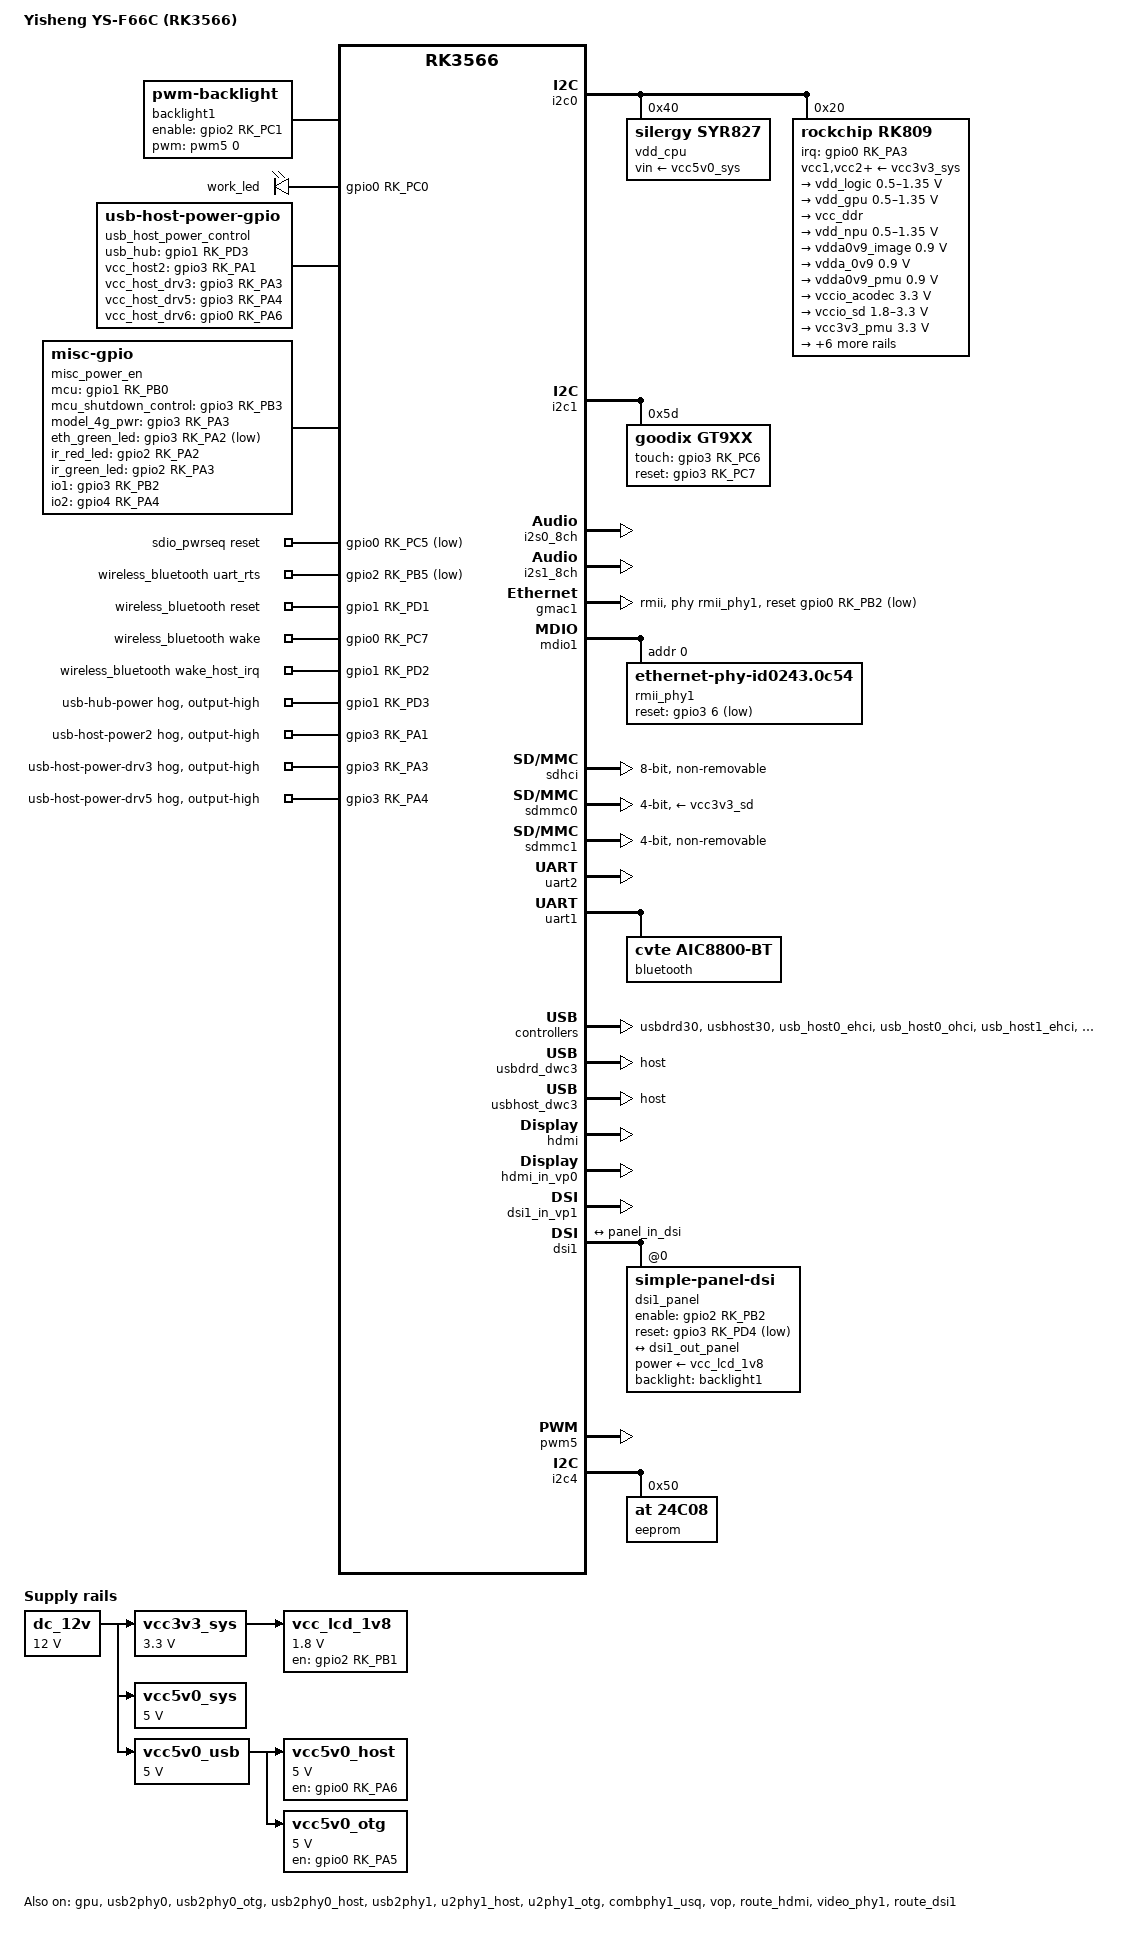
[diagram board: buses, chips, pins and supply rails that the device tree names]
// SPDX-License-Identifier: (GPL-2.0+ OR MIT)
/*
 * Yisheng YS-F66C (Rockchip RK3566)
 * 4+32G, 10.1" 1280x800 MIPI DSI, Goodix GT9xx touch, IP101GR PHY, RK809
 * Adapted for Rockchip vendor kernel 6.1 (rk-6.1-rkr7.2)
 */

/dts-v1/;

#include "rk3566.dtsi"
#include <dt-bindings/gpio/gpio.h>
#include <dt-bindings/pinctrl/rockchip.h>
#include <dt-bindings/interrupt-controller/irq.h>
#include <dt-bindings/leds/common.h>
#include <dt-bindings/soc/rockchip,vop2.h>
#include <dt-bindings/display/drm_mipi_dsi.h>
#include <dt-bindings/phy/phy.h>
#include <dt-bindings/clock/rk3568-cru.h>
#include <dt-bindings/power/rk3568-power.h>

/ {
	model = "Yisheng YS-F66C (RK3566)";
	compatible = "rockchip,rk3566-ys-f66c", "rockchip,rk3566";

	aliases {
		ethernet0 = &gmac1;
		mmc0 = &sdhci;
		mmc1 = &sdmmc0;
		mmc2 = &sdmmc1;
	};

	chosen: chosen {
		stdout-path = "serial2:1500000n8";
	};

	dc_12v: dc-12v {
		compatible = "regulator-fixed";
		regulator-name = "dc_12v";
		regulator-always-on;
		regulator-boot-on;
		regulator-min-microvolt = <12000000>;
		regulator-max-microvolt = <12000000>;
	};

	vcc3v3_sys: vcc3v3-sys {
		compatible = "regulator-fixed";
		regulator-name = "vcc3v3_sys";
		regulator-always-on;
		regulator-boot-on;
		regulator-min-microvolt = <3300000>;
		regulator-max-microvolt = <3300000>;
		vin-supply = <&dc_12v>;
	};

	vcc5v0_sys: vcc5v0-sys {
		compatible = "regulator-fixed";
		regulator-name = "vcc5v0_sys";
		regulator-always-on;
		regulator-boot-on;
		regulator-min-microvolt = <5000000>;
		regulator-max-microvolt = <5000000>;
		vin-supply = <&dc_12v>;
	};

	vcc5v0_usb: vcc5v0-usb {
		compatible = "regulator-fixed";
		regulator-name = "vcc5v0_usb";
		regulator-always-on;
		regulator-boot-on;
		regulator-min-microvolt = <5000000>;
		regulator-max-microvolt = <5000000>;
		vin-supply = <&dc_12v>;
	};

	vcc5v0_host: vcc5v0-host-regulator {
		compatible = "regulator-fixed";
		regulator-name = "vcc5v0_host";
		regulator-boot-on;
		regulator-always-on;
		regulator-min-microvolt = <5000000>;
		regulator-max-microvolt = <5000000>;
		enable-active-high;
		gpio = <&gpio0 RK_PA6 GPIO_ACTIVE_HIGH>;
		vin-supply = <&vcc5v0_usb>;
		pinctrl-names = "default";
		pinctrl-0 = <&vcc5v0_host_en>;
	};

	vcc5v0_otg: vcc5v0-otg-regulator {
		compatible = "regulator-fixed";
		regulator-name = "vcc5v0_otg";
		regulator-min-microvolt = <5000000>;
		regulator-max-microvolt = <5000000>;
		enable-active-high;
		gpio = <&gpio0 RK_PA5 GPIO_ACTIVE_HIGH>;
		vin-supply = <&vcc5v0_usb>;
		pinctrl-names = "default";
		pinctrl-0 = <&vcc5v0_otg_en>;
	};

	/* Питание панели: 1.8V I/O-рейл (вендорский enable18, GPIO2_B1).
	 * Вендор поднимает 1.8V ПЕРЕД 3.3V. panel_simple включает
	 * power-supply первым, затем enable-gpios (3.3V). */
	vcc_lcd_1v8: vcc-lcd-1v8 {
		compatible = "regulator-fixed";
		regulator-name = "vcc_lcd_1v8";
		regulator-min-microvolt = <1800000>;
		regulator-max-microvolt = <1800000>;
		enable-active-high;
		gpio = <&gpio2 RK_PB1 GPIO_ACTIVE_HIGH>;
		pinctrl-names = "default";
		pinctrl-0 = <&lcd_1v8_en>;
		vin-supply = <&vcc3v3_sys>;
	};
	backlight1: backlight1 {
		compatible = "pwm-backlight";
		pwms = <&pwm5 0 25000 0>;
		brightness-levels = <0 20 21 22 23 24 25 26 27 28 29 30 31 32 33 34 35 36 37 38 39 40 41 42 43 44 45 46 47 48 49 50 51 52 53 54 55 56 57 58 59 60 61 62 63 64 65 66 67 68 69 70 71 72 73 74 75 76 77 78 79 80 81 82 83 84 85 86 87 88 89 90 91 92 93 94 95 96 97 98 99 100 101 102 103 104 105 106 107 108 109 110 111 112 113 114 115 116 117 118 119 120 121 122 123 124 125 126 127 128 129 130 131 132 133 134 135 136 137 138 139 140 141 142 143 144 145 146 147 148 149 150 151 152 153 154 155 156 157 158 159 160 161 162 163 164 165 166 167 168 169 170 171 172 173 174 175 176 177 178 179 180 181 182 183 184 185 186 187 188 189 190 191 192 193 194 195 196 197 198 199 200 201 202 203 204 205 206 207 208 209 210 211 212 213 214 215 216 217 218 219 220 221 222 223 224 225 226 227 228 229 230 231 232 233 234 235 236 237 238 239 240 241 242 243 244 245 246 247 248 249 250 251 252 253 254 255>;
		default-brightness-level = <200>;
		pinctrl-names = "default";
		pinctrl-0 = <&bl_en1>;
		enable-gpios = <&gpio2 RK_PC1 GPIO_ACTIVE_HIGH>;
	};

	leds: leds {
		compatible = "gpio-leds";

		work_led: work {
			gpios = <&gpio0 RK_PC0 GPIO_ACTIVE_HIGH>;
			linux,default-trigger = "heartbeat";
		};
	};

	usb_host_power_control {
		compatible = "usb-host-power-gpio";
		pinctrl-names = "default";
		pinctrl-0 = <&default_usb_gpio_host_level>;
		usb_hub_gpio = <&gpio1 RK_PD3 GPIO_ACTIVE_HIGH>;
		vcc_host2 = <&gpio3 RK_PA1 GPIO_ACTIVE_HIGH>;
		vcc_host_drv3_gpio = <&gpio3 RK_PA3 GPIO_ACTIVE_HIGH>;
		vcc_host_drv5_gpio = <&gpio3 RK_PA4 GPIO_ACTIVE_HIGH>;
		vcc_host_drv6_gpio = <&gpio0 RK_PA6 GPIO_ACTIVE_HIGH>;
		status = "okay";
	};

	misc_power_en {
		compatible = "misc-gpio";
		mcu,gpio = <&gpio1 RK_PB0 GPIO_ACTIVE_HIGH>;
		mcu_shutdown_control = <&gpio3 RK_PB3 GPIO_ACTIVE_HIGH>;
		model_4g_pwr = <&gpio3 RK_PA3 GPIO_ACTIVE_HIGH>;
		eth_green_led = <&gpio3 RK_PA2 GPIO_ACTIVE_LOW>;
		ir_red_led = <&gpio2 RK_PA2 GPIO_ACTIVE_HIGH>;
		ir_green_led = <&gpio2 RK_PA3 GPIO_ACTIVE_HIGH>;
		io1 = <&gpio3 RK_PB2 GPIO_ACTIVE_HIGH>;
		io2 = <&gpio4 RK_PA4 GPIO_ACTIVE_HIGH>;
		io3 = <&gpio4 RK_PA3 GPIO_ACTIVE_HIGH>;
		io4 = <&gpio3 RK_PA5 GPIO_ACTIVE_HIGH>;
		status = "okay";
	};

	sdio_pwrseq: sdio-pwrseq {
		compatible = "mmc-pwrseq-simple";
		clocks = <&rk809 1>;
		clock-names = "ext_clock";
		pinctrl-names = "default";
		pinctrl-0 = <&wifi_enable_h>;
		/* vendor board: WiFi/BT reset on GPIO0_C5 */
		reset-gpios = <&gpio0 RK_PC5 GPIO_ACTIVE_LOW>;
	};

	/* AIC8800 Bluetooth power/wake, driven by the Rockchip rfkill-bt
	 * driver (compatible bluetooth-platdata). Pin map from the Android DT:
	 * reset = GPIO1_D1, wake = GPIO0_C7, host wake irq = GPIO1_D2,
	 * UART RTS = GPIO2_B5 (active low).
	 */
	wireless_bluetooth: wireless-bluetooth {
		compatible = "bluetooth-platdata";
		clocks = <&rk809 1>;
		clock-names = "ext_clock";
		uart_rts_gpios = <&gpio2 RK_PB5 GPIO_ACTIVE_LOW>;
		pinctrl-names = "default", "rts_gpio";
		pinctrl-0 = <&uart1m0_rtsn>;
		pinctrl-1 = <&uart1_gpios>;
		BT,reset_gpio = <&gpio1 RK_PD1 GPIO_ACTIVE_HIGH>;
		BT,wake_gpio = <&gpio0 RK_PC7 GPIO_ACTIVE_HIGH>;
		BT,wake_host_irq = <&gpio1 RK_PD2 GPIO_ACTIVE_HIGH>;
		status = "okay";
	};

	hdmi_sound: hdmi-sound {
		compatible = "simple-audio-card";
		simple-audio-card,format = "i2s";
		simple-audio-card,mclk-fs = <128>;
		simple-audio-card,name = "rockchip,hdmi";
		status = "okay";

		simple-audio-card,cpu {
			sound-dai = <&i2s0_8ch>;
		};

		simple-audio-card,codec {
			sound-dai = <&hdmi>;
		};
	};

	rk809_sound: rk809-sound {
		status = "okay";
		compatible = "simple-audio-card";
		simple-audio-card,format = "i2s";
		simple-audio-card,name = "rockchip,rk809-codec";
		simple-audio-card,mclk-fs = <256>;

		simple-audio-card,cpu {
			sound-dai = <&i2s1_8ch>;
		};

		simple-audio-card,codec {
			sound-dai = <&rk809_codec>;
		};
	};
};

&cpu0 {
	cpu-supply = <&vdd_cpu>;
};

&cpu0_opp_table {
	/delete-node/ opp-1800000000;
};

&gpu {
	mali-supply = <&vdd_gpu>;
	status = "okay";
};

&gpu_opp_table {
	/delete-node/ opp-800000000;
};

&i2c0 {
	status = "okay";

	vdd_cpu: regulator@40 {
		compatible = "silergy,syr827";
		reg = <0x40>;
		vin-supply = <&vcc5v0_sys>;
		regulator-compatible = "fan53555-reg";
		regulator-name = "vdd_cpu";
		regulator-min-microvolt = <712500>;
		regulator-max-microvolt = <1390000>;
		regulator-ramp-delay = <2300>;
		fcs,suspend-voltage-selector = <1>;
		regulator-boot-on;
		regulator-always-on;

		regulator-state-mem {
			regulator-off-in-suspend;
		};
	};

	rk809: pmic@20 {
		compatible = "rockchip,rk809";
		reg = <0x20>;
		interrupt-parent = <&gpio0>;
		interrupts = <RK_PA3 IRQ_TYPE_LEVEL_LOW>;
		#clock-cells = <1>;
		clock-output-names = "rk808-clkout1", "rk808-clkout2";
		pinctrl-names = "default";
		pinctrl-0 = <&pmic_int_l>;
		rockchip,system-power-controller;
		wakeup-source;
		vcc1-supply = <&vcc3v3_sys>;
		vcc2-supply = <&vcc3v3_sys>;
		vcc3-supply = <&vcc3v3_sys>;
		vcc4-supply = <&vcc3v3_sys>;
		vcc5-supply = <&vcc3v3_sys>;
		vcc6-supply = <&vcc3v3_sys>;
		vcc7-supply = <&vcc3v3_sys>;
		vcc8-supply = <&vcc3v3_sys>;
		vcc9-supply = <&vcc3v3_sys>;

		regulators {
			vdd_logic: DCDC_REG1 {
				regulator-always-on;
				regulator-boot-on;
				regulator-min-microvolt = <500000>;
				regulator-max-microvolt = <1350000>;
				regulator-init-microvolt = <900000>;
				regulator-ramp-delay = <6001>;
				regulator-initial-mode = <0x2>;
				regulator-name = "vdd_logic";

				regulator-state-mem {
					regulator-off-in-suspend;
				};
			};

			vdd_gpu: DCDC_REG2 {
				regulator-always-on;
				regulator-boot-on;
				regulator-min-microvolt = <500000>;
				regulator-max-microvolt = <1350000>;
				regulator-init-microvolt = <900000>;
				regulator-ramp-delay = <6001>;
				regulator-initial-mode = <0x2>;
				regulator-name = "vdd_gpu";

				regulator-state-mem {
					regulator-off-in-suspend;
				};
			};

			vcc_ddr: DCDC_REG3 {
				regulator-always-on;
				regulator-boot-on;
				regulator-initial-mode = <0x2>;
				regulator-name = "vcc_ddr";

				regulator-state-mem {
					regulator-on-in-suspend;
				};
			};

			vdd_npu: DCDC_REG4 {
				regulator-always-on;
				regulator-boot-on;
				regulator-min-microvolt = <500000>;
				regulator-max-microvolt = <1350000>;
				regulator-init-microvolt = <900000>;
				regulator-ramp-delay = <6001>;
				regulator-initial-mode = <0x2>;
				regulator-name = "vdd_npu";

				regulator-state-mem {
					regulator-off-in-suspend;
				};
			};

			vdda0v9_image: LDO_REG1 {
				regulator-boot-on;
				regulator-always-on;
				regulator-min-microvolt = <900000>;
				regulator-max-microvolt = <900000>;
				regulator-name = "vdda0v9_image";

				regulator-state-mem {
					regulator-off-in-suspend;
				};
			};

			vdda_0v9: LDO_REG2 {
				regulator-always-on;
				regulator-boot-on;
				regulator-min-microvolt = <900000>;
				regulator-max-microvolt = <900000>;
				regulator-name = "vdda_0v9";

				regulator-state-mem {
					regulator-off-in-suspend;
				};
			};

			vdda0v9_pmu: LDO_REG3 {
				regulator-always-on;
				regulator-boot-on;
				regulator-min-microvolt = <900000>;
				regulator-max-microvolt = <900000>;
				regulator-name = "vdda0v9_pmu";

				regulator-state-mem {
					regulator-on-in-suspend;
					regulator-suspend-microvolt = <900000>;
				};
			};

			vccio_acodec: LDO_REG4 {
				regulator-always-on;
				regulator-boot-on;
				regulator-min-microvolt = <3300000>;
				regulator-max-microvolt = <3300000>;
				regulator-name = "vccio_acodec";

				regulator-state-mem {
					regulator-off-in-suspend;
				};
			};

			vccio_sd: LDO_REG5 {
				regulator-always-on;
				regulator-boot-on;
				regulator-min-microvolt = <1800000>;
				regulator-max-microvolt = <3300000>;
				regulator-name = "vccio_sd";

				regulator-state-mem {
					regulator-off-in-suspend;
				};
			};

			vcc3v3_pmu: LDO_REG6 {
				regulator-always-on;
				regulator-boot-on;
				regulator-min-microvolt = <3300000>;
				regulator-max-microvolt = <3300000>;
				regulator-name = "vcc3v3_pmu";

				regulator-state-mem {
					regulator-on-in-suspend;
					regulator-suspend-microvolt = <3300000>;
				};
			};

			vcca_1v8: LDO_REG7 {
				regulator-always-on;
				regulator-boot-on;
				regulator-min-microvolt = <1800000>;
				regulator-max-microvolt = <1800000>;
				regulator-name = "vcca_1v8";

				regulator-state-mem {
					regulator-off-in-suspend;
				};
			};

			vcca1v8_pmu: LDO_REG8 {
				regulator-always-on;
				regulator-boot-on;
				regulator-min-microvolt = <1800000>;
				regulator-max-microvolt = <1800000>;
				regulator-name = "vcca1v8_pmu";

				regulator-state-mem {
					regulator-on-in-suspend;
					regulator-suspend-microvolt = <1800000>;
				};
			};

			vcca1v8_image: LDO_REG9 {
				regulator-always-on;
				regulator-boot-on;
				regulator-min-microvolt = <1800000>;
				regulator-max-microvolt = <1800000>;
				regulator-name = "vcca1v8_image";

				regulator-state-mem {
					regulator-off-in-suspend;
				};
			};

			vcc_1v8: DCDC_REG5 {
				regulator-always-on;
				regulator-boot-on;
				regulator-min-microvolt = <1800000>;
				regulator-max-microvolt = <1800000>;
				regulator-name = "vcc_1v8";

				regulator-state-mem {
					regulator-off-in-suspend;
				};
			};

			vcc_3v3: SWITCH_REG1 {
				regulator-always-on;
				regulator-boot-on;
				regulator-name = "vcc_3v3";

				regulator-state-mem {
					regulator-off-in-suspend;
				};
			};

			vcc3v3_sd: SWITCH_REG2 {
				regulator-always-on;
				regulator-boot-on;
				regulator-name = "vcc3v3_sd";

				regulator-state-mem {
					regulator-off-in-suspend;
				};
			};
		};

		rk809_codec: codec {
			#sound-dai-cells = <0>;
			compatible = "rockchip,rk809-codec", "rockchip,rk817-codec";
			clocks = <&cru I2S1_MCLKOUT>;
			clock-names = "mclk";
			assigned-clocks = <&cru I2S1_MCLKOUT>, <&cru I2S1_MCLK_TX_IOE>;
			assigned-clock-rates = <12288000>;
			assigned-clock-parents = <&cru I2S1_MCLKOUT_TX>, <&cru I2S1_MCLKOUT_TX>;
			pinctrl-names = "default";
			pinctrl-0 = <&i2s1m0_mclk>;
			out-l2spk-r2hp;
			spk-ctl-gpios = <&gpio2 RK_PC6 GPIO_ACTIVE_LOW>;
			hp-volume = <28>;
			spk-volume = <28>;
			capture-volume = <0>;
			mic-in-differential;
			status = "okay";
		};
	};
};

/* Touchscreen: Goodix GT9271 on I2C1 (fe5a0000), addr 0x5d.
 * Pins from the vendor DTB: INT GPIO3_C6 (pull-up), RST GPIO3_C7.
 * The vendor gt9xx driver reads "touch-gpio" and "reset-gpio".
 */
&i2c1 {
	status = "okay";

	gt9xx: touchscreen@5d {
		compatible = "goodix,gt9xx";
		reg = <0x5d>;
		pinctrl-names = "default";
		pinctrl-0 = <&tp_int &tp_rst>;
		touch-gpio = <&gpio3 RK_PC6 IRQ_TYPE_LEVEL_LOW>;
		reset-gpio = <&gpio3 RK_PC7 GPIO_ACTIVE_HIGH>;
		max-x = <1280>;
		max-y = <800>;
		tp-size = <9271>;
	};
};

&i2s0_8ch {
	status = "okay";
};

&i2s1_8ch {
	status = "okay";
	rockchip,trcm-sync-tx-only;
	pinctrl-names = "default";
	pinctrl-0 = <&i2s1m0_sclktx
		     &i2s1m0_lrcktx
		     &i2s1m0_sdi0
		     &i2s1m0_sdo0>;
};

&gmac1 {
	status = "okay";
	phy-mode = "rmii";
	clock_in_out = "output";

	snps,reset-gpio = <&gpio0 RK_PB2 GPIO_ACTIVE_LOW>;
	snps,reset-active-low;
	snps,reset-delays-us = <0 20000 100000>;

	assigned-clocks = <&cru SCLK_GMAC1_RX_TX>, <&cru SCLK_GMAC1>;
	assigned-clock-parents = <&cru SCLK_GMAC1_RMII_SPEED>, <&cru CLK_MAC1_2TOP>;
	assigned-clock-rates = <0>, <50000000>;

	pinctrl-names = "default";
	pinctrl-0 = <&gmac1m0_miim
		     &gmac1m0_tx_bus2
		     &gmac1m0_rx_bus2>;

	phy-handle = <&rmii_phy1>;
};

&mdio1 {
	rmii_phy1: ethernet-phy@0 {
		compatible = "ethernet-phy-id0243.0c54";
		reg = <0>;
		reset-gpios = <&gpio3 6 GPIO_ACTIVE_LOW>;
	};
};

&sdhci {
	status = "okay";
	bus-width = <8>;
	supports-emmc;
	non-removable;
	max-frequency = <200000000>;
};

&sdmmc0 {
	status = "okay";
	supports-sd;
	bus-width = <4>;
	cap-mmc-highspeed;
	cap-sd-highspeed;
	disable-wp;
	sd-uhs-sdr104;
	vmmc-supply = <&vcc3v3_sd>;
	vqmmc-supply = <&vccio_sd>;
	pinctrl-names = "default";
	pinctrl-0 = <&sdmmc0_bus4 &sdmmc0_clk &sdmmc0_cmd &sdmmc0_det>;
};

&sdmmc1 {
	status = "okay";
	supports-sdio;
	bus-width = <4>;
	/* Android: max-frequency = 50000000; SDR104 tuning fails above this. */
	max-frequency = <50000000>;
	disable-wp;
	cap-sd-highspeed;
	cap-sdio-irq;
	keep-power-in-suspend;
	non-removable;
	mmc-pwrseq = <&sdio_pwrseq>;
	pinctrl-names = "default";
	pinctrl-0 = <&sdmmc1_bus4 &sdmmc1_cmd &sdmmc1_clk>;
	sd-uhs-sdr104;
};

&uart2 {
	status = "okay";
	pinctrl-names = "default";
	pinctrl-0 = <&uart2m0_xfer>;
};

/* AIC8800 Bluetooth HCI on uart1 (m0). The serdev child binds hci_uart's
 * AIC protocol (CONFIG_BT_HCIUART_AIC). The RTS pin is owned by
 * wireless_bluetooth above.
 */
&uart1 {
	status = "okay";
	pinctrl-names = "default";
	pinctrl-0 = <&uart1m0_xfer &uart1m0_ctsn>;

	bluetooth {
		compatible = "cvte,aic8800-bt";
	};
};

&usb2phy0 {
	status = "okay";
};

&usb2phy0_otg {
	status = "okay";
	phy-supply = <&vcc5v0_otg>;
};

&usb2phy0_host {
	status = "okay";
	phy-supply = <&vcc5v0_host>;
};

&usb2phy1 {
	status = "okay";
};

&u2phy1_host {
	status = "okay";
	phy-supply = <&vcc5v0_host>;
};

&u2phy1_otg {
	status = "okay";
	phy-supply = <&vcc5v0_host>;
};

&usbdrd30 {
	status = "okay";
};

/* Дочерний узел - сам контроллер. Без него родительский status не работает,
 * и устройство fcc00000.dwc3 не создаётся. phys тут обязателен: во вендорском
 * rk356x.dtsi у дочернего OTG-узла phys нет. */
&usbdrd_dwc3 {
	status = "okay";
	dr_mode = "host";
	/* В rk3566.dtsi этот узел жёстко привязан к extcon, который
	 * уводит OTG-порт в device при виде «зарядника». Убираем. */
	/delete-property/ extcon;
};

&usbhost30 {
	status = "okay";
};

&usbhost_dwc3 {
	status = "okay";
	dr_mode = "host";
};

/* ВАЖНО: включаем combphy1, иначе USB3 (usbhost30) не инициализируется */
&combphy1_usq {
	status = "okay";
};

&usb_host0_ehci {
	status = "okay";
};

&usb_host0_ohci {
	status = "okay";
};

&usb_host1_ehci {
	status = "okay";
};

&usb_host1_ohci {
	status = "okay";
};

&hdmi {
	status = "okay";
};

&hdmi_in_vp0 {
	status = "okay";
};

&hdmi_in_vp1 {
	status = "disabled";
};

&vop {
	status = "okay";
	assigned-clocks = <&cru DCLK_VOP0>, <&cru DCLK_VOP1>, <&cru DCLK_VOP2>;
	assigned-clock-parents = <&pmucru PLL_HPLL>, <&cru PLL_VPLL>, <&cru PLL_CPLL>;
};

&vop_mmu {
	status = "okay";
};

&route_hdmi {
	status = "okay";
	connect = <&vp0_out_hdmi>;
};

/* HDMI keeps VP0. BSP route for DSI1 uses VP1. */
&video_phy1 {
	status = "okay";
};

&dsi1_in_vp0 {
	status = "disabled";
};

&dsi1_in_vp1 {
	status = "okay";
};

&route_dsi1 {
	status = "okay";
	connect = <&vp1_out_dsi1>;
};

/* 10.1" 1280x800 MIPI DSI panel on DSI1 (fe070000), vendor kernel format */
&dsi1 {
	status = "okay";
	/* Вендорская скорость линии: 450 Mbps на линию (как в delay_and_timing224
	 * и как отдаёт U-Boot). Иначе драйвер считает 525 Mbps, а PLL PHY
	 * ставит ~522 Mbps.
	 */
	rockchip,lane-rate = <450>;

	ports {
		#address-cells = <1>;
		#size-cells = <0>;

		port@1 {
			reg = <1>;

			dsi1_out_panel: endpoint {
				remote-endpoint = <&panel_in_dsi>;
			};
		};
	};

	dsi1_panel: panel@0 {
		compatible = "simple-panel-dsi";
		reg = <0>;
		backlight = <&backlight1>;
		/* 1.8V-рейл (вендорский enable18, GPIO2_B1): power-supply.
		 * panel_simple включает его первым. */
		power-supply = <&vcc_lcd_1v8>;
		/* 3.3V-рейл (вендорский enable33, GPIO2_B2): enable-gpios.
		 * Драйвер поднимает его вторым, сразу после 1.8V. */
		enable-gpios = <&gpio2 RK_PB2 GPIO_ACTIVE_HIGH>;
		reset-gpios = <&gpio3 RK_PD4 GPIO_ACTIVE_LOW>;
		reset-delay-ms = <200>;
		pinctrl-names = "default";
		pinctrl-0 = <&lcd_pwr_en &lcd_reset_pin>;
		enable-delay-ms = <60>;
		prepare-delay-ms = <60>;
		unprepare-delay-ms = <60>;
		disable-delay-ms = <60>;
		init-delay-ms = <60>;

		/* DSI parameters from live Android kernel DT (dsi,flags=0xa03) */
		dsi,flags = <(MIPI_DSI_MODE_VIDEO | MIPI_DSI_MODE_VIDEO_BURST |
			       MIPI_DSI_MODE_NO_EOT_PACKET | MIPI_DSI_MODE_LPM)>;
		dsi,format = <MIPI_DSI_FMT_RGB888>;
		dsi,lanes = <4>;

		/* Полная init-таблица вендора (panel-initcode224), 983 байта.
		 * Это рабочая конфигурация Android (lcd_mipi_param=224).
		 * U-Boot у нас mainline, панель не инициализирует, поэтому таблицу
		 * отправляет ядро в panel_simple_prepare().
		 */
		panel-init-sequence = [
			15 00 02 e0 00 15 00 02 e1 93 15 00 02 e2 65 15
			00 02 e3 f8 15 00 02 80 03 15 00 02 e0 01 15 00
			02 00 00 15 00 02 01 3b 15 00 02 0c 74 15 00 02
			17 00 15 00 02 18 af 15 00 02 19 00 15 00 02 1a
			00 15 00 02 1b af 15 00 02 1c 00 15 00 02 35 26
			15 00 02 37 09 15 00 02 38 04 15 00 02 39 00 15
			00 02 3a 01 15 00 02 3c 78 15 00 02 3d ff 15 00
			02 3e ff 15 00 02 3f 7f 15 00 02 40 06 15 00 02
			41 a0 15 00 02 42 81 15 00 02 43 14 15 00 02 44
			23 15 00 02 45 28 15 00 02 55 02 15 00 02 57 69
			15 00 02 59 0a 15 00 02 5a 2a 15 00 02 5b 17 15
			00 02 5d 7f 15 00 02 5e 6b 15 00 02 5f 5c 15 00
			02 60 4f 15 00 02 61 4d 15 00 02 62 3f 15 00 02
			63 42 15 00 02 64 2b 15 00 02 65 44 15 00 02 66
			43 15 00 02 67 43 15 00 02 68 63 15 00 02 69 52
			15 00 02 6a 5a 15 00 02 6b 4f 15 00 02 6c 4e 15
			00 02 6d 20 15 00 02 6e 0f 15 00 02 6f 00 15 00
			02 70 7f 15 00 02 71 6b 15 00 02 72 5c 15 00 02
			73 4f 15 00 02 74 4d 15 00 02 75 3f 15 00 02 76
			42 15 00 02 77 2b 15 00 02 78 44 15 00 02 79 43
			15 00 02 7a 43 15 00 02 7b 63 15 00 02 7c 52 15
			00 02 7d 5a 15 00 02 7e 4f 15 00 02 7f 4e 15 00
			02 80 20 15 00 02 81 0f 15 00 02 82 00 15 00 02
			e0 02 15 00 02 00 02 15 00 02 01 02 15 00 02 02
			00 15 00 02 03 00 15 00 02 04 1e 15 00 02 05 1e
			15 00 02 06 1f 15 00 02 07 1f 15 00 02 08 1f 15
			00 02 09 17 15 00 02 0a 17 15 00 02 0b 37 15 00
			02 0c 37 15 00 02 0d 47 15 00 02 0e 47 15 00 02
			0f 45 15 00 02 10 45 15 00 02 11 4b 15 00 02 12
			4b 15 00 02 13 49 15 00 02 14 49 15 00 02 15 1f
			15 00 02 16 01 15 00 02 17 01 15 00 02 18 00 15
			00 02 19 00 15 00 02 1a 1e 15 00 02 1b 1e 15 00
			02 1c 1f 15 00 02 1d 1f 15 00 02 1e 1f 15 00 02
			1f 17 15 00 02 20 17 15 00 02 21 37 15 00 02 22
			37 15 00 02 23 46 15 00 02 24 46 15 00 02 25 44
			15 00 02 26 44 15 00 02 27 4a 15 00 02 28 4a 15
			00 02 29 48 15 00 02 2a 48 15 00 02 2b 1f 15 00
			02 2c 01 15 00 02 2d 01 15 00 02 2e 00 15 00 02
			2f 00 15 00 02 30 1f 15 00 02 31 1f 15 00 02 32
			1e 15 00 02 33 1e 15 00 02 34 1f 15 00 02 35 17
			15 00 02 36 17 15 00 02 37 37 15 00 02 38 37 15
			00 02 39 08 15 00 02 3a 08 15 00 02 3b 0a 15 00
			02 3c 0a 15 00 02 3d 04 15 00 02 3e 04 15 00 02
			3f 06 15 00 02 40 06 15 00 02 41 1f 15 00 02 42
			02 15 00 02 43 02 15 00 02 44 00 15 00 02 45 00
			15 00 02 46 1f 15 00 02 47 1f 15 00 02 48 1e 15
			00 02 49 1e 15 00 02 4a 1f 15 00 02 4b 17 15 00
			02 4c 17 15 00 02 4d 37 15 00 02 4e 37 15 00 02
			4f 09 15 00 02 50 09 15 00 02 51 0b 15 00 02 52
			0b 15 00 02 53 05 15 00 02 54 05 15 00 02 55 07
			15 00 02 56 07 15 00 02 57 1f 15 00 02 58 40 15
			00 02 5b 30 15 00 02 5c 16 15 00 02 5d 34 15 00
			02 5e 05 15 00 02 5f 02 15 00 02 63 00 15 00 02
			64 6a 15 00 02 67 73 15 00 02 68 1d 15 00 02 69
			08 15 00 02 6a 6a 15 00 02 6b 08 15 00 02 6c 00
			15 00 02 6d 00 15 00 02 6e 00 15 00 02 6f 88 15
			00 02 75 ff 15 00 02 77 dd 15 00 02 78 3f 15 00
			02 79 15 15 00 02 7a 17 15 00 02 7d 14 15 00 02
			7e 82 15 00 02 e0 04 15 00 02 00 0e 15 00 02 02
			b3 15 00 02 09 61 15 00 02 0e 48 15 00 02 e0 00
			15 00 02 e6 02 15 00 02 e7 0c 05 78 01 11 05 05
			01 29 15 00 02 35 00
		];

		/* Exit sequence: пауза 30 мс -> DISPLAY OFF (0x28),
		 * пауза 100 мс -> SLEEP IN (0x10).
		 * Байты взяты из panel-exitcode224 вендорского DTS.
		 */
		panel-exit-sequence = [
			05 1e 01 28
			05 64 01 10
		];

		/* Тайминги из delay_and_timing224 вендорского DTS.
		 * Формат: clock, hactive, vactive, hback, hfront,
		 * vback, vfront, hsync, vsync.
		 * delay_and_timing224 = 70000000, 800, 1280,
		 *   40, 60, 12, 18, 30, 4.
		 * Android-лог даёт тот же режим:
		 * "H: 0800 0860 0890 0930, V: 1280 1298 1302 1314".
		 */
		display-timings {
			native-mode = <&timing_mipi>;

			timing_mipi: timing_mipi {
				clock-frequency = <70000000>;
				hactive = <800>;
				vactive = <1280>;
				hback-porch = <40>;
				hfront-porch = <60>;
				vback-porch = <12>;
				vfront-porch = <18>;
				hsync-len = <30>;
				vsync-len = <4>;
				hsync-active = <0>;
				vsync-active = <0>;
				de-active = <0>;
				pixelclk-active = <0>;
			};
		};

		ports {
			#address-cells = <1>;
			#size-cells = <0>;

			port@0 {
				reg = <0>;

				panel_in_dsi: endpoint {
					remote-endpoint = <&dsi1_out_panel>;
				};
			};
		};
	};
};

&pwm5 {
	status = "okay";
};

&pinctrl {
	pmic {
		pmic_int_l: pmic-int-l {
			rockchip,pins = <0 RK_PA3 RK_FUNC_GPIO &pcfg_pull_up>;
		};
	};

	usb {
		vcc5v0_host_en: vcc5v0-host-en {
			rockchip,pins = <0 RK_PA6 RK_FUNC_GPIO &pcfg_pull_none>;
		};

		vcc5v0_otg_en: vcc5v0-otg-en {
			rockchip,pins = <0 RK_PA5 RK_FUNC_GPIO &pcfg_pull_none>;
		};
	};

	default_usb_gpio_host_level {
		default_usb_gpio_host_level: default-usb-gpio-host-level {
			rockchip,pins = <1 RK_PD3 RK_FUNC_GPIO &pcfg_pull_none>;
		};
	};

	sdio-pwrseq {
		wifi_enable_h: wifi-enable-h {
			rockchip,pins = <0 RK_PC5 RK_FUNC_GPIO &pcfg_pull_none>;
		};
	};

	lcd {
		lcd_1v8_en: lcd-1v8-en {
			rockchip,pins = <2 RK_PB1 RK_FUNC_GPIO &pcfg_pull_none>;
		};

		lcd_pwr_en: lcd-pwr-en {
			rockchip,pins = <2 RK_PB2 RK_FUNC_GPIO &pcfg_pull_none>;
		};

		lcd_reset_pin: lcd-reset-pin {
			rockchip,pins = <3 RK_PD4 RK_FUNC_GPIO &pcfg_pull_none>;
		};

		bl_en1: bl-en1 {
			rockchip,pins = <2 RK_PC1 RK_FUNC_GPIO &pcfg_pull_none>;
		};
	};

	touch {
		tp_int: tp-int {
			rockchip,pins = <3 RK_PC6 RK_FUNC_GPIO &pcfg_pull_up>;
		};

		tp_rst: tp-rst {
			rockchip,pins = <3 RK_PC7 RK_FUNC_GPIO &pcfg_pull_none>;
		};
	};

	wireless-bluetooth {
		uart1_gpios: uart1-gpios {
			rockchip,pins = <2 RK_PB5 RK_FUNC_GPIO &pcfg_pull_up>;
		};
	};
};

/* Диагностика: EEPROM дисплея (at24c08 @0x50) на i2c4.
 * Вендорский U-Boot читает оттуда disp_param (lcd_mipi_param).
 * Включаем шину, чтобы прочитать параметр панели из Linux.
 */
&i2c4 {
	status = "okay";

	eeprom@50 {
		compatible = "at,24c08";
		reg = <0x50>;
	};
};

/*
 * Питание USB-хаба и портов хоста. Вендор включает его драйвером
 * "usb-host-power-gpio", которого нет в ядре 6.1. Держим линии сами.
 * Для USB-камеры нужны usb_hub_gpio (gpio1 RK_PD3) и vcc_host_drv3 (gpio3 RK_PA3).
 */
&gpio1 {
	usb-hub-power-hog {
		gpio-hog;
		gpios = <RK_PD3 GPIO_ACTIVE_HIGH>;
		output-high;
		line-name = "usb-hub-power";
	};
};

&gpio3 {
	usb-host-power2-hog {
		gpio-hog;
		gpios = <RK_PA1 GPIO_ACTIVE_HIGH>;
		output-high;
		line-name = "usb-host-power2";
	};

	usb-host-power-drv3-hog {
		gpio-hog;
		gpios = <RK_PA3 GPIO_ACTIVE_HIGH>;
		output-high;
		line-name = "usb-host-power-drv3";
	};

	usb-host-power-drv5-hog {
		gpio-hog;
		gpios = <RK_PA4 GPIO_ACTIVE_HIGH>;
		output-high;
		line-name = "usb-host-power-drv5";
	};
};
